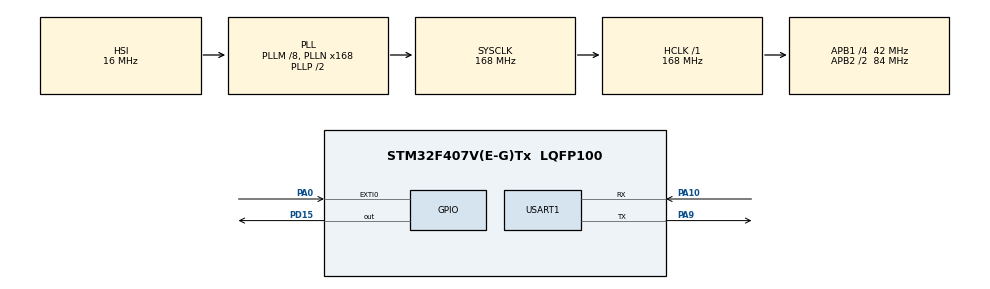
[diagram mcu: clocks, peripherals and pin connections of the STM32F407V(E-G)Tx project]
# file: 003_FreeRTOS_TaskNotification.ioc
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Mcu.Family=STM32F4
Mcu.Name=STM32F407V(E-G)Tx
Mcu.Package=LQFP100
NVIC.PriorityGroup=NVIC_PRIORITYGROUP_4
NVIC.TIM6_DAC_IRQn=true\:0\:0\:false\:false\:true\:false\:true\:true
NVIC.TimeBase=TIM6_DAC_IRQn
NVIC.TimeBaseIP=TIM6
PA0-WKUP.GPIO_ModeDefaultEXTI=GPIO_MODE_IT_RISING
PA0-WKUP.Signal=GPXTI0
PA10.Mode=Asynchronous
PA10.Signal=USART1_RX
PA9.Mode=Asynchronous
PA9.Signal=USART1_TX
PD15.Signal=GPIO_Output
PH0-OSC_IN.Mode=HSE-External-Oscillator
PH0-OSC_IN.Signal=RCC_OSC_IN
PH1-OSC_OUT.Mode=HSE-External-Oscillator
PH1-OSC_OUT.Signal=RCC_OSC_OUT
ProjectManager.HeapSize=0x200
ProjectManager.StackSize=0x400
ProjectManager.TargetToolchain=STM32CubeIDE
RCC.48MHZClocksFreq_Value=48000000
RCC.AHBFreq_Value=168000000
RCC.APB1CLKDivider=RCC_HCLK_DIV4
RCC.APB1Freq_Value=42000000
RCC.APB1TimFreq_Value=84000000
RCC.APB2CLKDivider=RCC_HCLK_DIV2
RCC.APB2Freq_Value=84000000
RCC.APB2TimFreq_Value=168000000
RCC.CortexFreq_Value=168000000
RCC.HCLKFreq_Value=168000000
RCC.HSE_VALUE=8000000
RCC.HSI_VALUE=16000000
RCC.LSE_VALUE=32768
RCC.PLLM=8
RCC.PLLN=168
RCC.PLLQ=7
RCC.SYSCLKFreq_VALUE=168000000
RCC.SYSCLKSource=RCC_SYSCLKSOURCE_PLLCLK
RCC.VCOOutputFreq_Value=336000000
USART1.Parity=PARITY_EVEN
USART1.VirtualMode=VM_ASYNC
VP_SYS_VS_tim6.Mode=TIM6
board=STM32F407G-DISC1

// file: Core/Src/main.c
/* USER CODE BEGIN Header */
/**
  ******************************************************************************
  * @file           : main.c
  * @brief          : Main program body
  ******************************************************************************
  * @attention
  *
  * <h2><center>&copy; Copyright (c) 2021 STMicroelectronics.
  * All rights reserved.</center></h2>
  *
  * This software component is licensed by ST under BSD 3-Clause license,
  * the "License"; You may not use this file except in compliance with the
  * License. You may obtain a copy of the License at:
  *                        opensource.org/licenses/BSD-3-Clause
  *
  ******************************************************************************
  */
/* USER CODE END Header */

#include "main.h"

/* USER CODE BEGIN Includes */
#include <stdio.h>
#include "FreeRTOS.h"
#include "task.h"

/* USER CODE END Includes */

/* USER CODE BEGIN PM */
#define UNPRESS 0
#define PRESS 1
/* USER CODE END PM */

UART_HandleTypeDef huart1;

/* USER CODE BEGIN PV */
int BNT_Status = UNPRESS;
TaskHandle_t next_taskhandler;
/* USER CODE END PV */

void SystemClock_Config(void);
static void MX_GPIO_Init(void);
static void MX_USART1_UART_Init(void);
/* USER CODE BEGIN PFP */

static void led_task_handler(void* parameters);
static void btn_task_handler(void* parameters);

/* USER CODE END PFP */

int main(void)
{
  /* USER CODE BEGIN 1 */

	BaseType_t status;
  /* USER CODE END 1 */

  /* MCU Configuration--------------------------------------------------------*/

  /* Reset of all peripherals, Initializes the Flash interface and the Systick. */
  HAL_Init();

  /* Configure the system clock */
  SystemClock_Config();

  /* Initialize all configured peripherals */
  MX_GPIO_Init();
  MX_USART1_UART_Init();
  /* USER CODE BEGIN 2 */

  status = xTaskCreate(led_task_handler, "LED Task", configMINIMAL_STACK_SIZE, NULL, 1, &next_taskhandler);
  configASSERT(status == pdPASS);

  status = xTaskCreate(btn_task_handler, "BTN Task", configMINIMAL_STACK_SIZE, NULL, 1, NULL);
  configASSERT(status == pdPASS);

  //start the freeRTOS scheduler
  vTaskStartScheduler();

  //if the control comes here, then the launch of the scheduler has failed due to
  //insufficient memory in heap

  /* USER CODE END 2 */

  /* Infinite loop */
  while (1)
  {

  }
}

void SystemClock_Config(void)
{
  RCC_OscInitTypeDef RCC_OscInitStruct = {0};
  RCC_ClkInitTypeDef RCC_ClkInitStruct = {0};

  /** Configure the main internal regulator output voltage
  */
  __HAL_RCC_PWR_CLK_ENABLE();
  __HAL_PWR_VOLTAGESCALING_CONFIG(PWR_REGULATOR_VOLTAGE_SCALE1);
  /** Initializes the CPU, AHB and APB busses clocks
  */
  RCC_OscInitStruct.OscillatorType = RCC_OSCILLATORTYPE_HSI;
  RCC_OscInitStruct.HSIState = RCC_HSI_ON;
  RCC_OscInitStruct.HSICalibrationValue = RCC_HSICALIBRATION_DEFAULT;
  RCC_OscInitStruct.PLL.PLLState = RCC_PLL_ON;
  RCC_OscInitStruct.PLL.PLLSource = RCC_PLLSOURCE_HSI;
  RCC_OscInitStruct.PLL.PLLM = 8;
  RCC_OscInitStruct.PLL.PLLN = 168;
  RCC_OscInitStruct.PLL.PLLP = RCC_PLLP_DIV2;
  RCC_OscInitStruct.PLL.PLLQ = 7;
  if (HAL_RCC_OscConfig(&RCC_OscInitStruct) != HAL_OK)
  {
    Error_Handler();
  }
  /** Initializes the CPU, AHB and APB busses clocks
  */
  RCC_ClkInitStruct.ClockType = RCC_CLOCKTYPE_HCLK|RCC_CLOCKTYPE_SYSCLK
                              |RCC_CLOCKTYPE_PCLK1|RCC_CLOCKTYPE_PCLK2;
  RCC_ClkInitStruct.SYSCLKSource = RCC_SYSCLKSOURCE_PLLCLK;
  RCC_ClkInitStruct.AHBCLKDivider = RCC_SYSCLK_DIV1;
  RCC_ClkInitStruct.APB1CLKDivider = RCC_HCLK_DIV4;
  RCC_ClkInitStruct.APB2CLKDivider = RCC_HCLK_DIV2;

  if (HAL_RCC_ClockConfig(&RCC_ClkInitStruct, FLASH_LATENCY_5) != HAL_OK)
  {
    Error_Handler();
  }
}

static void MX_USART1_UART_Init(void)
{

  huart1.Instance = USART1;
  huart1.Init.BaudRate = 115200;
  huart1.Init.WordLength = UART_WORDLENGTH_8B;
  huart1.Init.StopBits = UART_STOPBITS_1;
  huart1.Init.Parity = UART_PARITY_EVEN;
  huart1.Init.Mode = UART_MODE_TX_RX;
  huart1.Init.HwFlowCtl = UART_HWCONTROL_NONE;
  huart1.Init.OverSampling = UART_OVERSAMPLING_16;
  if (HAL_UART_Init(&huart1) != HAL_OK)
  {
    Error_Handler();
  }

}

static void MX_GPIO_Init(void)
{
  GPIO_InitTypeDef GPIO_InitStruct = {0};

  /* GPIO Ports Clock Enable */
  __HAL_RCC_GPIOH_CLK_ENABLE();
  __HAL_RCC_GPIOA_CLK_ENABLE();
  __HAL_RCC_GPIOD_CLK_ENABLE();

  /*Configure GPIO pin Output Level */
  HAL_GPIO_WritePin(GPIOD, GPIO_PIN_15, GPIO_PIN_RESET);

  /*Configure GPIO pin : PA0 */
  GPIO_InitStruct.Pin = GPIO_PIN_0;
  GPIO_InitStruct.Mode = GPIO_MODE_IT_RISING;
  GPIO_InitStruct.Pull = GPIO_NOPULL;
  HAL_GPIO_Init(GPIOA, &GPIO_InitStruct);

  /*Configure GPIO pin : PD15 */
  GPIO_InitStruct.Pin = GPIO_PIN_15;
  GPIO_InitStruct.Mode = GPIO_MODE_OUTPUT_PP;
  GPIO_InitStruct.Pull = GPIO_NOPULL;
  GPIO_InitStruct.Speed = GPIO_SPEED_FREQ_LOW;
  HAL_GPIO_Init(GPIOD, &GPIO_InitStruct);

}

/* USER CODE BEGIN 4 */

static void led_task_handler(void* parameters)
{
	while(1)
	{
		xTaskNotifyWait(0, 0, NULL, pdMS_TO_TICKS(1000));
		if(BNT_Status == PRESS)
		{
			// set led
			HAL_GPIO_WritePin(GPIOD, GPIO_PIN_15, GPIO_PIN_SET);
		}else
		{
			// off led
			HAL_GPIO_WritePin(GPIOD, GPIO_PIN_15, GPIO_PIN_RESET);
		}
	}
}

static void btn_task_handler(void* parameters)
{

	while(1)
	{
		if(HAL_GPIO_ReadPin(GPIOA, GPIO_PIN_0) == GPIO_PIN_SET)
		{
			xTaskNotify(next_taskhandler,0,eNoAction);
		}
	}
}

/* USER CODE END 4 */

void HAL_TIM_PeriodElapsedCallback(TIM_HandleTypeDef *htim)
{
  if (htim->Instance == TIM6) {
    HAL_IncTick();
  }
}

void Error_Handler(void)
{
}

/************************ (C) COPYRIGHT STMicroelectronics *****END OF FILE****/
